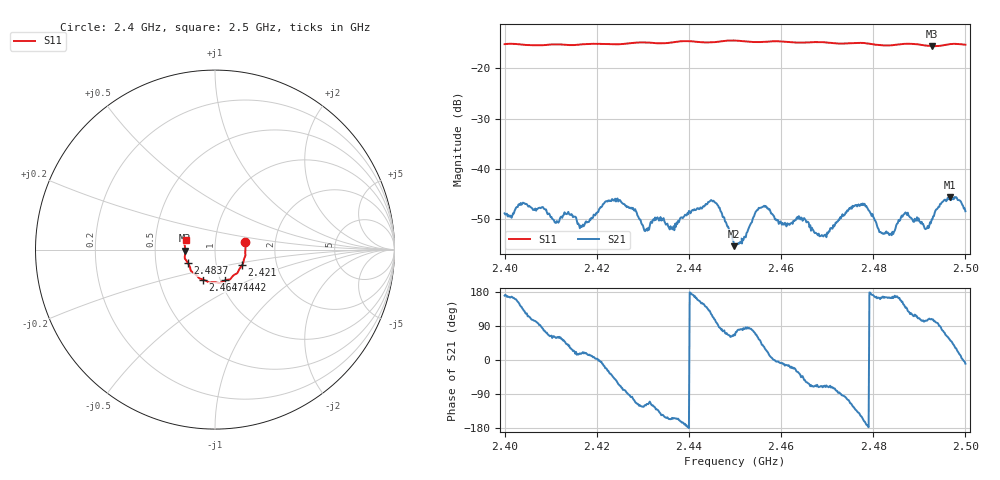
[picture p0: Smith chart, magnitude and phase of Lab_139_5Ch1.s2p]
# Hz S RI R 50
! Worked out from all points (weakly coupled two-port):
!   601 points, 2.4 GHz to 2.5 GHz, reference 50 ohm
!   highest |S21| = -45.55 dB at 2.4967 GHz (marker M1); lowest = -55.3 dB at 2.4498 GHz (marker M2)
!   lowest |S11| = -15.6 dB at 2.4928 GHz (marker M3), VSWR 1.40, Z = 35.8 - j0.378 ohm
!   |S11| at or under -10 dB: start of sweep to end of sweep
!   S12 and S22 are empty: the file has one direction only
!   S11 on the Smith chart (normalised r, x): 2.4 GHz: 1.40, +0.12; 2.421 GHz: 1.33, -0.24; 2.4442 GHz: 1.05, -0.37; 2.4647 GHz: 0.83, -0.29; 2.4837 GHz: 0.73, -0.11; 2.5 GHz: 0.72, +0.08
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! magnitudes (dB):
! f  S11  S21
! 2.4 GHz  -15.2  -48.8
! 2.4043 GHz  -15.4  -46.8
! 2.4167 GHz  -15.3  -51.6
! 2.421 GHz  -15.2  -47.6
! 2.4248 GHz  -15.2  -46.2
! 2.4308 GHz  -14.9  -51.9
! 2.4333 GHz  -15.1  -49.8
! 2.4363 GHz  -14.9  -51.9
! 2.4442 GHz  -14.9  -46.6
! 2.4498 GHz  -14.5  -55.3
! 2.45 GHz  -14.5  -55.3
! 2.4558 GHz  -14.8  -47.6
! 2.4647 GHz  -14.9  -50.3
! 2.4667 GHz  -14.8  -51.7
! 2.4697 GHz  -14.9  -53.0
! 2.4777 GHz  -15.0  -46.9
! 2.4833 GHz  -15.5  -52.9
! 2.4837 GHz  -15.5  -52.9
! 2.487 GHz  -15.1  -48.6
! 2.4928 GHz  -15.6  -50.0
! 2.4967 GHz  -15.2  -45.6
! 2.5 GHz  -15.3  -48.4
